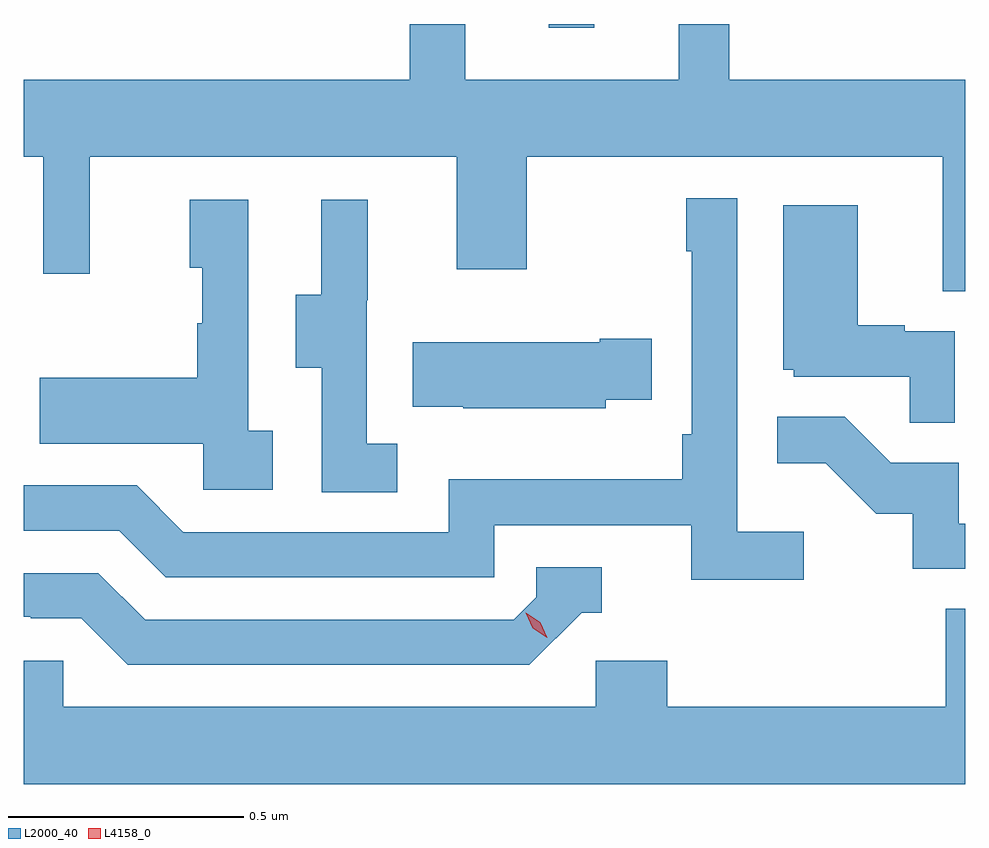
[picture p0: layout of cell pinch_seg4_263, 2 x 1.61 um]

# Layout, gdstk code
import gdstk
lib = gdstk.Library(unit=1e-6, precision=1e-09)
def R(c, l, rs):  # rectangles x0, y0, x1, y1
    for r in rs: c.add(gdstk.rectangle(r[:2], r[2:], *l))
def P(c, l, *ps):  # polygons
    for p in ps: c.add(gdstk.Polygon(p, *l))
L2000_40 = (2000, 40)
L4158_0 = (4158, 0)

pinch_seg4_263 = lib.new_cell('pinch_seg4_263')
R(pinch_seg4_263, L2000_40, [(924.752,825.066,924.849,825.074)])
P(pinch_seg4_263, L2000_40, [(925.637,824.956),(925.136,824.956),(925.136,825.074),(925.028,825.074),(925.028,824.956),(924.575,824.956),(924.575,825.074),(924.457,825.074),(924.457,824.956),(923.637,824.956),(923.637,824.792),(923.679,824.792),(923.679,824.544),(923.777,824.544),(923.777,824.792),(924.557,824.792),(924.557,824.553),(924.705,824.553),(924.705,824.792),(925.589,824.792),(925.589,824.506),(925.637,824.506)],
  [(925.294,823.996),(925.152,823.996),(925.152,824.704),(925.044,824.704),(925.044,824.591),(925.056,824.591),(925.056,824.203),(925.036,824.203),(925.036,824.107),(924.54,824.107),(924.54,823.995),(923.976,823.995),(923.877,824.094),(923.637,824.094),(923.637,823.998),(923.84,823.998),(923.939,823.899),(924.636,823.899),(924.636,824.01),(925.055,824.01),(925.055,823.894),(925.294,823.894)],
  [(924.43,824.183),(924.366,824.183),(924.366,824.487),(924.368,824.487),(924.368,824.701),(924.269,824.701),(924.269,824.499),(924.215,824.499),(924.215,824.344),(924.27,824.344),(924.27,824.08),(924.43,824.08)],
  [(924.166,824.21),(924.114,824.21),(924.114,824.701),(923.99,824.701),(923.99,824.556),(924.016,824.556),(924.016,824.438),(924.006,824.438),(924.006,824.323),(923.671,824.323),(923.671,824.183),(924.018,824.183),(924.018,824.085),(924.166,824.085)],
  [(925.614,824.421),(925.508,824.421),(925.508,824.434),(925.408,824.434),(925.408,824.689),(925.25,824.689),(925.25,824.34),(925.272,824.34),(925.272,824.325),(925.519,824.325),(925.519,824.227),(925.614,824.227)],
  [(924.873,824.276),(924.971,824.276),(924.971,824.406),(924.86,824.406),(924.86,824.398),(924.463,824.398),(924.463,824.261),(924.571,824.261),(924.571,824.258),(924.873,824.258)],
  [(925.637,824.013),(925.623,824.013),(925.623,824.142),(925.479,824.142),(925.381,824.24),(925.237,824.24),(925.237,824.141),(925.341,824.141),(925.448,824.034),(925.525,824.034),(925.525,823.917),(925.637,823.917)],
  [(924.822,823.824),(924.865,823.824),(924.865,823.92),(924.726,823.92),(924.726,823.857),(924.678,823.809),(923.895,823.809),(923.796,823.908),(923.637,823.908),(923.637,823.815),(923.652,823.815),(923.652,823.812),(923.759,823.812),(923.858,823.713),(924.711,823.713)],
  [(925.637,823.832),(925.595,823.832),(925.595,823.624),(925.004,823.624),(925.004,823.722),(924.852,823.722),(924.852,823.624),(923.721,823.624),(923.721,823.722),(923.637,823.722),(923.637,823.46),(925.637,823.46)])
P(pinch_seg4_263, L4158_0, [(924.749,823.771),(924.718,823.791),(924.703,823.824),(924.703,823.824),(924.703,823.824),(924.734,823.804),(924.749,823.771),(924.749,823.771)])

lib.write_gds('pinch_seg4_263.gds')
